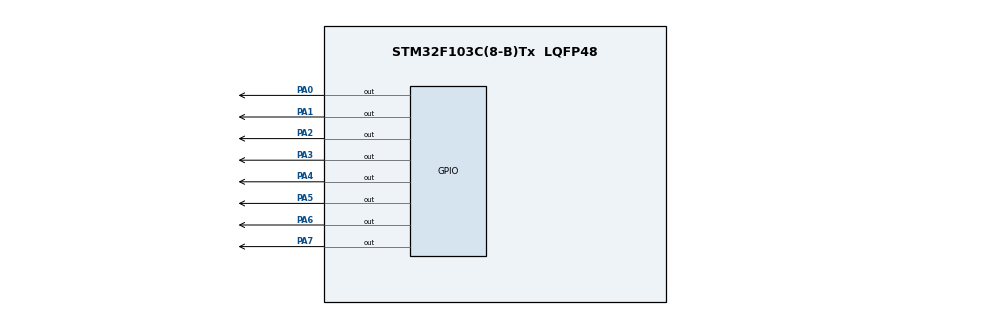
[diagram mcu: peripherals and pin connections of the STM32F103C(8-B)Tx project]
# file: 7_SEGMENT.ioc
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Mcu.Family=STM32F1
Mcu.Name=STM32F103C(8-B)Tx
Mcu.Package=LQFP48
NVIC.PriorityGroup=NVIC_PRIORITYGROUP_4
PA0-WKUP.Signal=GPIO_Output
PA1.Signal=GPIO_Output
PA13.Mode=Serial_Wire
PA13.Signal=SYS_JTMS-SWDIO
PA14.Mode=Serial_Wire
PA14.Signal=SYS_JTCK-SWCLK
PA2.Signal=GPIO_Output
PA3.Signal=GPIO_Output
PA4.Signal=GPIO_Output
PA5.Signal=GPIO_Output
PA6.Signal=GPIO_Output
PA7.Signal=GPIO_Output
ProjectManager.HeapSize=0x200
ProjectManager.StackSize=0x400
ProjectManager.TargetToolchain=STM32CubeIDE
RCC.APB1Freq_Value=8000000
RCC.APB2Freq_Value=8000000
board=custom

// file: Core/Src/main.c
/* USER CODE BEGIN Header */
/**
  ******************************************************************************
  * @file           : main.c
  * @brief          : Main program body
  ******************************************************************************
  * @attention
  *
  * Copyright (c) 2023 STMicroelectronics.
  * All rights reserved.
  *
  * This software is licensed under terms that can be found in the LICENSE file
  * in the root directory of this software component.
  * If no LICENSE file comes with this software, it is provided AS-IS.
  *
  ******************************************************************************
  */
/* USER CODE END Header */
#include "main.h"

void SystemClock_Config(void);
static void MX_GPIO_Init(void);

int main(void)
{

  /* MCU Configuration--------------------------------------------------------*/

  /* Reset of all peripherals, Initializes the Flash interface and the Systick. */
  HAL_Init();

  /* Configure the system clock */
  SystemClock_Config();

  /* Initialize all configured peripherals */
  MX_GPIO_Init();
  /* USER CODE BEGIN 2 */
  int number =  0;
  /* USER CODE END 2 */

  /* Infinite loop */
  while (1)
  {

    /* USER CODE BEGIN 3 */
		  switch (number){
		  	  case 0:
		  		  HAL_GPIO_WritePin(GPIOA, GPIO_PIN_0, 0);
		  		  HAL_GPIO_WritePin(GPIOA, GPIO_PIN_1, 0);
		  		  HAL_GPIO_WritePin(GPIOA, GPIO_PIN_2, 0);
		  		  HAL_GPIO_WritePin(GPIOA, GPIO_PIN_3, 0);
		  		  HAL_GPIO_WritePin(GPIOA, GPIO_PIN_4, 0);
		  		  HAL_GPIO_WritePin(GPIOA, GPIO_PIN_5, 0);
		  		  HAL_GPIO_WritePin(GPIOA, GPIO_PIN_6, 1);
		  		  number ++;
		  		  break;

		  	  case 1:
		  		  HAL_GPIO_WritePin(GPIOA, GPIO_PIN_0, 1);
		  		  HAL_GPIO_WritePin(GPIOA, GPIO_PIN_1, 0);
		  		  HAL_GPIO_WritePin(GPIOA, GPIO_PIN_2, 0);
		  		  HAL_GPIO_WritePin(GPIOA, GPIO_PIN_3, 1);
		  		  HAL_GPIO_WritePin(GPIOA, GPIO_PIN_4, 1);
		  		  HAL_GPIO_WritePin(GPIOA, GPIO_PIN_5, 1);
		  		  HAL_GPIO_WritePin(GPIOA, GPIO_PIN_6, 1);
		  		  number ++;
		  		  break;

		  	  case 2:
		  	  	  HAL_GPIO_WritePin(GPIOA, GPIO_PIN_0, 0);
		  	  	  HAL_GPIO_WritePin(GPIOA, GPIO_PIN_1, 0);
		  	  	  HAL_GPIO_WritePin(GPIOA, GPIO_PIN_2, 1);
		  	  	  HAL_GPIO_WritePin(GPIOA, GPIO_PIN_3, 0);
		  	  	  HAL_GPIO_WritePin(GPIOA, GPIO_PIN_4, 0);
		  	  	  HAL_GPIO_WritePin(GPIOA, GPIO_PIN_5, 1);
		  	  	  HAL_GPIO_WritePin(GPIOA, GPIO_PIN_6, 0);
		  	  	  number ++;
		  	  	  break;

		  	  case 3:
		  	  	  HAL_GPIO_WritePin(GPIOA, GPIO_PIN_0, 0);
		  	  	  HAL_GPIO_WritePin(GPIOA, GPIO_PIN_1, 0);
		  	  	  HAL_GPIO_WritePin(GPIOA, GPIO_PIN_2, 0);
		  	  	  HAL_GPIO_WritePin(GPIOA, GPIO_PIN_3, 0);
		  	  	  HAL_GPIO_WritePin(GPIOA, GPIO_PIN_4, 1);
		  	  	  HAL_GPIO_WritePin(GPIOA, GPIO_PIN_5, 1);
		  	  	  HAL_GPIO_WritePin(GPIOA, GPIO_PIN_6, 0);
		  	  	  number ++;
		  	  	  break;

		  	  case 4:
		  	  	  HAL_GPIO_WritePin(GPIOA, GPIO_PIN_0, 1);
		  	  	  HAL_GPIO_WritePin(GPIOA, GPIO_PIN_1, 0);
		  	  	  HAL_GPIO_WritePin(GPIOA, GPIO_PIN_2, 0);
		  	  	  HAL_GPIO_WritePin(GPIOA, GPIO_PIN_3, 1);
		  	  	  HAL_GPIO_WritePin(GPIOA, GPIO_PIN_4, 1);
		  	  	  HAL_GPIO_WritePin(GPIOA, GPIO_PIN_5, 0);
		  	  	  HAL_GPIO_WritePin(GPIOA, GPIO_PIN_6, 0);
		  	  	  number ++;
		  	  	  break;

		  	  case 5:
		  	  	  HAL_GPIO_WritePin(GPIOA, GPIO_PIN_0, 0);
		  	  	  HAL_GPIO_WritePin(GPIOA, GPIO_PIN_1, 1);
		  	  	  HAL_GPIO_WritePin(GPIOA, GPIO_PIN_2, 0);
		  	  	  HAL_GPIO_WritePin(GPIOA, GPIO_PIN_3, 0);
		  	  	  HAL_GPIO_WritePin(GPIOA, GPIO_PIN_4, 1);
		  	  	  HAL_GPIO_WritePin(GPIOA, GPIO_PIN_5, 0);
		  	  	  HAL_GPIO_WritePin(GPIOA, GPIO_PIN_6, 0);
		  	  	  number ++;
		  	  	  break;

		  	  case 6:
		  	  	  HAL_GPIO_WritePin(GPIOA, GPIO_PIN_0, 0);
		  	  	  HAL_GPIO_WritePin(GPIOA, GPIO_PIN_1, 1);
		  	  	  HAL_GPIO_WritePin(GPIOA, GPIO_PIN_2, 0);
		  	  	  HAL_GPIO_WritePin(GPIOA, GPIO_PIN_3, 0);
		  	  	  HAL_GPIO_WritePin(GPIOA, GPIO_PIN_4, 0);
		  	  	  HAL_GPIO_WritePin(GPIOA, GPIO_PIN_5, 0);
		  	  	  HAL_GPIO_WritePin(GPIOA, GPIO_PIN_6, 0);
		  	  	  number ++;
		  	  	  break;

		  	  case 7:
		  	  	  HAL_GPIO_WritePin(GPIOA, GPIO_PIN_0, 0);
		  	  	  HAL_GPIO_WritePin(GPIOA, GPIO_PIN_1, 0);
		  	  	  HAL_GPIO_WritePin(GPIOA, GPIO_PIN_2, 0);
		  	  	  HAL_GPIO_WritePin(GPIOA, GPIO_PIN_3, 1);
		  	  	  HAL_GPIO_WritePin(GPIOA, GPIO_PIN_4, 1);
		  	  	  HAL_GPIO_WritePin(GPIOA, GPIO_PIN_5, 1);
		  	  	  HAL_GPIO_WritePin(GPIOA, GPIO_PIN_6, 1);
		  	  	  number ++;
		  	  	  break;

		  	  case 8:
		  	  	  HAL_GPIO_WritePin(GPIOA, GPIO_PIN_0, 0);
		  	  	  HAL_GPIO_WritePin(GPIOA, GPIO_PIN_1, 0);
		  	  	  HAL_GPIO_WritePin(GPIOA, GPIO_PIN_2, 0);
		  	  	  HAL_GPIO_WritePin(GPIOA, GPIO_PIN_3, 0);
		  	  	  HAL_GPIO_WritePin(GPIOA, GPIO_PIN_4, 0);
		  	  	  HAL_GPIO_WritePin(GPIOA, GPIO_PIN_5, 0);
		  	  	  HAL_GPIO_WritePin(GPIOA, GPIO_PIN_6, 0);
		  	  	  number ++;
		  	  	  break;

		  	  case 9:
		  	  	  HAL_GPIO_WritePin(GPIOA, GPIO_PIN_0, 0);
		  	  	  HAL_GPIO_WritePin(GPIOA, GPIO_PIN_1, 0);
		  	  	  HAL_GPIO_WritePin(GPIOA, GPIO_PIN_2, 0);
		  	  	  HAL_GPIO_WritePin(GPIOA, GPIO_PIN_3, 0);
		  	  	  HAL_GPIO_WritePin(GPIOA, GPIO_PIN_4, 1);
		  	  	  HAL_GPIO_WritePin(GPIOA, GPIO_PIN_5, 0);
		  	  	  HAL_GPIO_WritePin(GPIOA, GPIO_PIN_6, 0);
		  	  	  number ++;
		  	  	  break;
		  	  }

		  	  HAL_Delay(1000);
		  	  if(number==10)
		  	  {
		  		  number=0;
		  	  }
  }
  /* USER CODE END 3 */
}

void SystemClock_Config(void)
{
  RCC_OscInitTypeDef RCC_OscInitStruct = {0};
  RCC_ClkInitTypeDef RCC_ClkInitStruct = {0};

  /** Initializes the RCC Oscillators according to the specified parameters
  * in the RCC_OscInitTypeDef structure.
  */
  RCC_OscInitStruct.OscillatorType = RCC_OSCILLATORTYPE_HSI;
  RCC_OscInitStruct.HSIState = RCC_HSI_ON;
  RCC_OscInitStruct.HSICalibrationValue = RCC_HSICALIBRATION_DEFAULT;
  RCC_OscInitStruct.PLL.PLLState = RCC_PLL_NONE;
  if (HAL_RCC_OscConfig(&RCC_OscInitStruct) != HAL_OK)
  {
    Error_Handler();
  }

  /** Initializes the CPU, AHB and APB buses clocks
  */
  RCC_ClkInitStruct.ClockType = RCC_CLOCKTYPE_HCLK|RCC_CLOCKTYPE_SYSCLK
                              |RCC_CLOCKTYPE_PCLK1|RCC_CLOCKTYPE_PCLK2;
  RCC_ClkInitStruct.SYSCLKSource = RCC_SYSCLKSOURCE_HSI;
  RCC_ClkInitStruct.AHBCLKDivider = RCC_SYSCLK_DIV1;
  RCC_ClkInitStruct.APB1CLKDivider = RCC_HCLK_DIV1;
  RCC_ClkInitStruct.APB2CLKDivider = RCC_HCLK_DIV1;

  if (HAL_RCC_ClockConfig(&RCC_ClkInitStruct, FLASH_LATENCY_0) != HAL_OK)
  {
    Error_Handler();
  }
}

static void MX_GPIO_Init(void)
{
  GPIO_InitTypeDef GPIO_InitStruct = {0};

  /* GPIO Ports Clock Enable */
  __HAL_RCC_GPIOA_CLK_ENABLE();

  /*Configure GPIO pin Output Level */
  HAL_GPIO_WritePin(GPIOA, GPIO_PIN_0|GPIO_PIN_1|GPIO_PIN_2|GPIO_PIN_3
                          |GPIO_PIN_4|GPIO_PIN_5|GPIO_PIN_6|GPIO_PIN_7, GPIO_PIN_RESET);

  /*Configure GPIO pins : PA0 PA1 PA2 PA3
                           PA4 PA5 PA6 PA7 */
  GPIO_InitStruct.Pin = GPIO_PIN_0|GPIO_PIN_1|GPIO_PIN_2|GPIO_PIN_3
                          |GPIO_PIN_4|GPIO_PIN_5|GPIO_PIN_6|GPIO_PIN_7;
  GPIO_InitStruct.Mode = GPIO_MODE_OUTPUT_PP;
  GPIO_InitStruct.Pull = GPIO_NOPULL;
  GPIO_InitStruct.Speed = GPIO_SPEED_FREQ_LOW;
  HAL_GPIO_Init(GPIOA, &GPIO_InitStruct);

}

void Error_Handler(void)
{
  __disable_irq();
  while (1)
  {
  }
}
